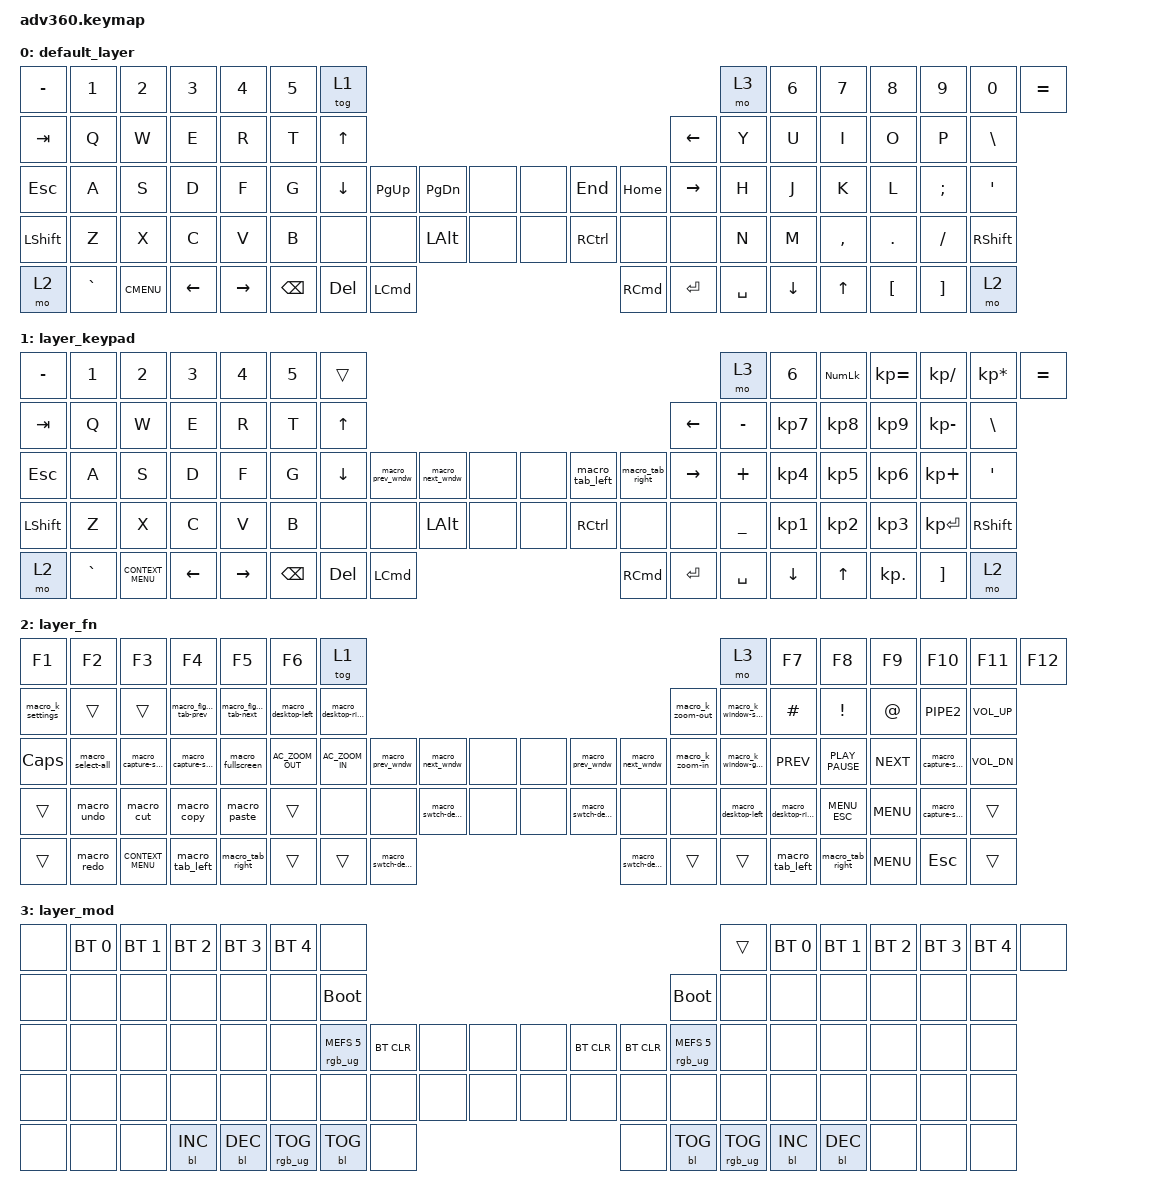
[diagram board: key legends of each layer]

/*
 * Copyright (c) 2020 The ZMK Contributors
 *
 * SPDX-License-Identifier: MIT
 */


/* THIS FILE WAS GENERATED!
 *
 * This file was generated automatically. You may or may not want to
 * edit it directly.
 */

#include <behaviors.dtsi>
#include <dt-bindings/zmk/keys.h>
#include <dt-bindings/zmk/bt.h>
#include <dt-bindings/zmk/rgb.h>
#include <dt-bindings/zmk/backlight.h>

/ {
  behaviors {
    #include "macros.dtsi"

    hm: homerow_mods {
        compatible = "zmk,behavior-hold-tap";
        label = "HOMEROW_MODS";
        #binding-cells = <2>;
        tapping-term-ms = <200>;
        quick_tap_ms = <175>;
        flavor = "tap-preferred";
        bindings = <&kp>, <&kp>;
    };
  };

    keymap {
        compatible = "zmk,keymap";


        default_layer {
            bindings = <
 &kp MINUS     &kp N1       &kp N2    &kp N3     &kp N4  &kp N5              &tog 1                                                                  &mo 3  &kp N6    &kp N7     &kp N8    &kp N9    &kp N0  &kp EQUAL
   &kp TAB      &kp Q        &kp W     &kp E      &kp R   &kp T              &kp UP                                                               &kp LEFT   &kp Y     &kp U      &kp I     &kp O     &kp P   &kp BSLH
   &kp ESC      &kp A        &kp S     &kp D      &kp F   &kp G            &kp DOWN  &kp PG_UP  &kp PG_DN   &none   &none    &kp END   &kp HOME  &kp RIGHT   &kp H     &kp J      &kp K     &kp L  &kp SEMI    &kp SQT
 &kp LSHFT      &kp Z        &kp X     &kp C      &kp V   &kp B               &none      &none   &kp LALT   &none   &none  &kp RCTRL      &none      &none   &kp N     &kp M  &kp COMMA   &kp DOT  &kp FSLH  &kp RSHFT
     &mo 2  &kp GRAVE  &kp K_CMENU  &kp LEFT  &kp RIGHT                    &kp BSPC    &kp DEL   &kp LCMD                   &kp RCMD  &kp ENTER  &kp SPACE          &kp DOWN     &kp UP  &kp LBKT  &kp RBKT      &mo 2
            >;
        };

        layer_keypad {
            bindings = <
 &kp MINUS     &kp N1              &kp N2    &kp N3     &kp N4  &kp N5              &trans                                                                                             &mo 3     &kp N6  &kp KP_NUM  &kp KP_EQUAL  &kp KP_DIVIDE  &kp KP_MULTIPLY  &kp EQUAL
   &kp TAB      &kp Q               &kp W     &kp E      &kp R   &kp T              &kp UP                                                                                          &kp LEFT  &kp MINUS   &kp KP_N7     &kp KP_N8      &kp KP_N9     &kp KP_MINUS   &kp BSLH
   &kp ESC      &kp A               &kp S     &kp D      &kp F   &kp G            &kp DOWN  &macro_prev_wndw  &macro_next_wndw   &none   &none  &macro_tab_left  &macro_tab_right  &kp RIGHT   &kp PLUS   &kp KP_N4     &kp KP_N5      &kp KP_N6      &kp KP_PLUS    &kp SQT
 &kp LSHFT      &kp Z               &kp X     &kp C      &kp V   &kp B               &none             &none          &kp LALT   &none   &none        &kp RCTRL             &none      &none  &kp UNDER   &kp KP_N1     &kp KP_N2      &kp KP_N3     &kp KP_ENTER  &kp RSHFT
     &mo 2  &kp GRAVE  &kp K_CONTEXT_MENU  &kp LEFT  &kp RIGHT                    &kp BSPC           &kp DEL          &kp LCMD                         &kp RCMD         &kp ENTER  &kp SPACE               &kp DOWN        &kp UP     &kp KP_DOT         &kp RBKT      &mo 2
            >;
        };

        layer_fn {
            bindings = <
            &kp F1             &kp F2                 &kp F3                 &kp F4                 &kp F5               &kp F6                          &tog 1                                                                                                                  &mo 3                  &kp F7                &kp F8            &kp F9     &kp F10                &kp F11       &kp F12
 &macro_k_settings             &trans                 &trans  &macro_figma_tab-prev  &macro_figma_tab-next  &macro_desktop-left            &macro_desktop-right                                                                                                      &macro_k_zoom-out  &macro_k_window-shrink              &kp HASH          &kp EXCL      &kp AT              &kp PIPE2  &kp C_VOL_UP
          &kp CAPS  &macro_select-all  &macro_capture-select  &macro_capture-screen      &macro_fullscreen    &kp C_AC_ZOOM_OUT                &kp C_AC_ZOOM_IN  &macro_prev_wndw        &macro_next_wndw   &none   &none        &macro_prev_wndw  &macro_next_wndw   &macro_k_zoom-in    &macro_k_window-grow            &kp K_PREV  &kp K_PLAY_PAUSE  &kp K_NEXT  &macro_capture-select  &kp C_VOL_DN
            &trans        &macro_undo             &macro_cut            &macro_copy           &macro_paste               &trans                           &none             &none  &macro_swtch-desktop-2   &none   &none  &macro_swtch-desktop-2             &none              &none     &macro_desktop-left  &macro_desktop-right    &kp C_MENU_ESC  &kp C_MENU  &macro_capture-screen        &trans
            &trans        &macro_redo     &kp K_CONTEXT_MENU        &macro_tab_left       &macro_tab_right                                               &trans            &trans  &macro_swtch-desktop-1                  &macro_swtch-desktop-1            &trans             &trans                               &macro_tab_left  &macro_tab_right  &kp K_MENU                &kp ESC        &trans
            >;
        };

        layer_mod {
            bindings = <
  &none  &bt BT_SEL 0  &bt BT_SEL 1  &bt BT_SEL 2  &bt BT_SEL 3  &bt BT_SEL 4                             &none                                                                              &trans  &bt BT_SEL 0  &bt BT_SEL 1  &bt BT_SEL 2  &bt BT_SEL 3  &bt BT_SEL 4   &none
  &none         &none         &none         &none         &none         &none                       &bootloader                                                                         &bootloader         &none         &none         &none         &none         &none   &none
  &none         &none         &none         &none         &none         &none            &rgb_ug RGB_MEFS_CMD 5  &bt BT_CLR   &none   &none   &none  &bt BT_CLR  &bt BT_CLR  &rgb_ug RGB_MEFS_CMD 5         &none         &none         &none         &none         &none   &none
  &none         &none         &none         &none         &none         &none                             &none       &none   &none   &none   &none       &none       &none                   &none         &none         &none         &none         &none         &none   &none
  &none         &none         &none    &bl BL_INC    &bl BL_DEC                                 &rgb_ug RGB_TOG  &bl BL_TOG   &none                       &none  &bl BL_TOG         &rgb_ug RGB_TOG                  &bl BL_INC    &bl BL_DEC         &none         &none   &none
            >;
        };

    };
};
